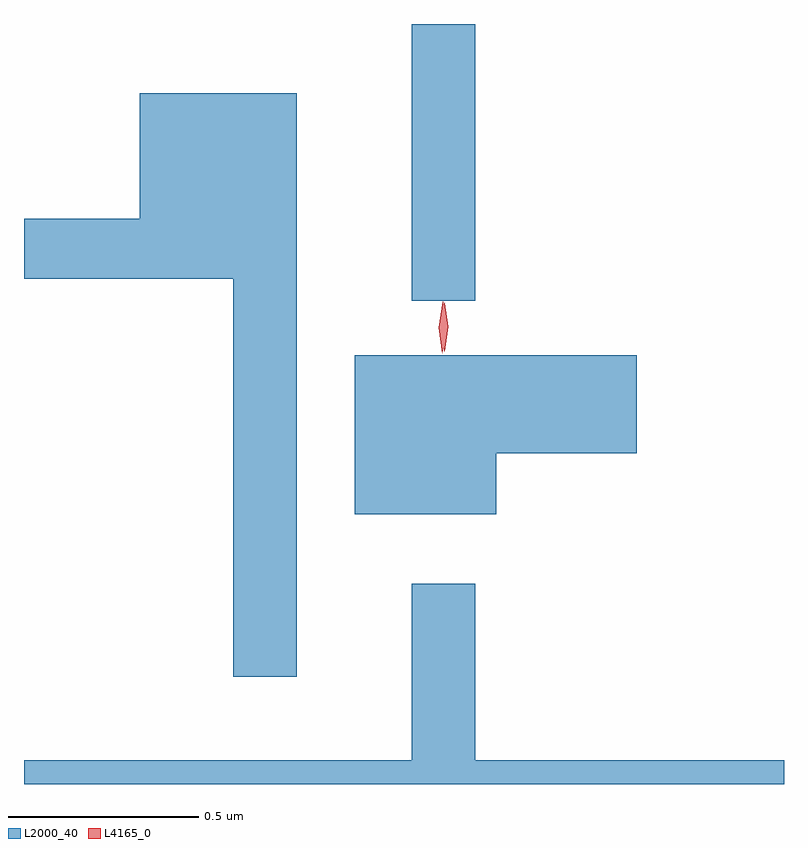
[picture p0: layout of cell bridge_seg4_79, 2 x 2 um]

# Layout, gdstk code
import gdstk
lib = gdstk.Library(unit=1e-6, precision=1e-09)
def R(c, l, rs):  # rectangles x0, y0, x1, y1
    for r in rs: c.add(gdstk.rectangle(r[:2], r[2:], *l))
def P(c, l, *ps):  # polygons
    for p in ps: c.add(gdstk.Polygon(p, *l))
L2000_40 = (2000, 40)
L4165_0 = (4165, 0)

bridge_seg4_79 = lib.new_cell('bridge_seg4_79')
R(bridge_seg4_79, L2000_40, [(1843.641,1385.013,1843.809,1385.741)])
P(bridge_seg4_79, L2000_40, [(1843.339,1385.559),(1842.926,1385.559),(1842.926,1385.229),(1842.621,1385.229),(1842.621,1385.071),(1843.171,1385.071),(1843.171,1384.023),(1843.339,1384.023)],
  [(1843.864,1384.611),(1844.234,1384.611),(1844.234,1384.869),(1843.491,1384.869),(1843.491,1384.451),(1843.864,1384.451)],
  [(1844.621,1383.804),(1843.809,1383.804),(1843.809,1384.268),(1843.641,1384.268),(1843.641,1383.804),(1842.621,1383.804),(1842.621,1383.741),(1844.621,1383.741)])
P(bridge_seg4_79, L4165_0, [(1843.721,1384.874),(1843.712,1384.942),(1843.723,1385.01),(1843.723,1385.01),(1843.724,1385.01),(1843.732,1384.942),(1843.722,1384.874),(1843.722,1384.874)],
  [(1843.727,1384.88),(1843.718,1384.944),(1843.727,1385.006),(1843.728,1385.007),(1843.728,1385.006),(1843.738,1384.944),(1843.728,1384.88),(1843.728,1384.88)])

lib.write_gds('bridge_seg4_79.gds')
